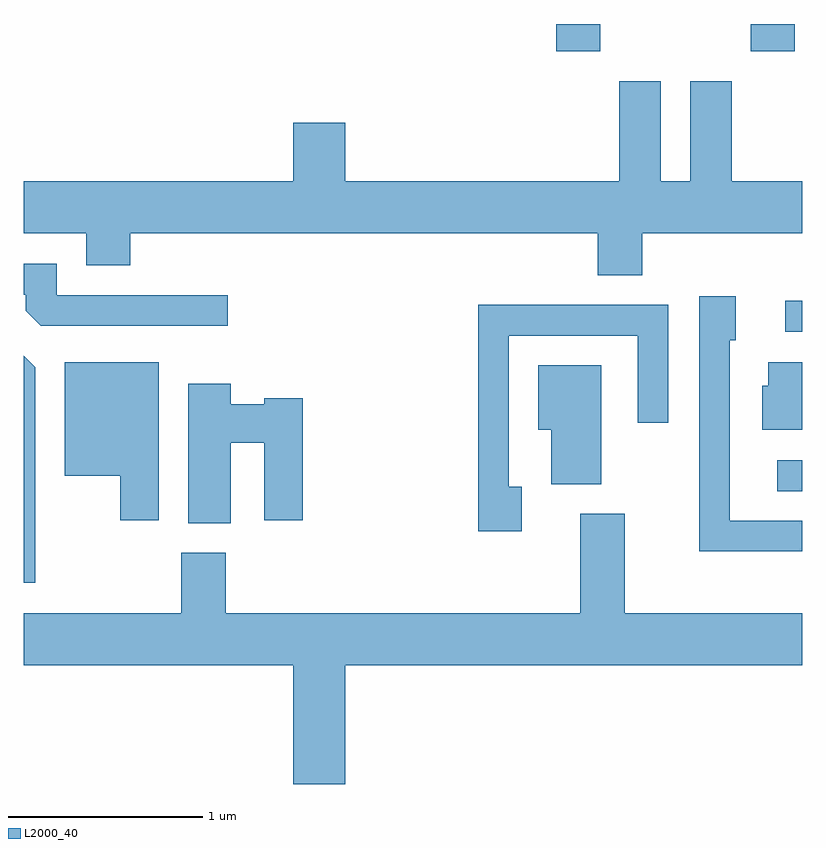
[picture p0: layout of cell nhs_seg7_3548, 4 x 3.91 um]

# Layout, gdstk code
import gdstk
lib = gdstk.Library(unit=1e-6, precision=1e-09)
def R(c, l, rs):  # rectangles x0, y0, x1, y1
    for r in rs: c.add(gdstk.rectangle(r[:2], r[2:], *l))
def P(c, l, *ps):  # polygons
    for p in ps: c.add(gdstk.Polygon(p, *l))
L2000_40 = (2000, 40)

nhs_seg7_3548 = lib.new_cell('nhs_seg7_3548')
R(nhs_seg7_3548, L2000_40, [(297.483,1741.851,297.611,1742.009), (297.523,1742.671,297.611,1742.829), (296.346,1744.111,296.574,1744.252), (297.346,1744.111,297.574,1744.252)])
P(nhs_seg7_3548, L2000_40, [(296.789,1743.176),(297.611,1743.176),(297.611,1743.444),(297.249,1743.444),(297.249,1743.959),(297.036,1743.959),(297.036,1743.444),(296.884,1743.444),(296.884,1743.959),(296.671,1743.959),(296.671,1743.444),(295.264,1743.444),(295.264,1743.744),(294.996,1743.744),(294.996,1743.444),(293.611,1743.444),(293.611,1743.176),(293.931,1743.176),(293.931,1743.011),(294.159,1743.011),(294.159,1743.176),(296.561,1743.176),(296.561,1742.961),(296.789,1742.961)],
  [(294.658,1742.859),(293.779,1742.859),(293.779,1743.019),(293.611,1743.019),(293.611,1742.861),(293.621,1742.861),(293.621,1742.777),(293.697,1742.701),(294.658,1742.701)],
  [(297.611,1741.699),(297.239,1741.699),(297.239,1742.626),(297.269,1742.626),(297.269,1742.854),(297.081,1742.854),(297.081,1741.541),(297.611,1741.541)],
  [(296.169,1741.874),(296.104,1741.874),(296.104,1742.651),(296.766,1742.651),(296.766,1742.203),(296.924,1742.203),(296.924,1742.809),(295.946,1742.809),(295.946,1741.646),(296.169,1741.646)],
  [(293.669,1742.489),(293.611,1742.547),(293.611,1741.381),(293.669,1741.381)],
  [(297.611,1742.514),(297.436,1742.514),(297.436,1742.394),(297.406,1742.394),(297.406,1742.166),(297.611,1742.166)],
  [(294.304,1742.514),(293.821,1742.514),(293.821,1741.931),(294.106,1741.931),(294.106,1741.701),(294.304,1741.701)],
  [(296.579,1742.499),(296.256,1742.499),(296.256,1742.166),(296.321,1742.166),(296.321,1741.886),(296.579,1741.886)],
  [(294.674,1742.101),(294.846,1742.101),(294.846,1741.701),(295.044,1741.701),(295.044,1742.329),(294.846,1742.329),(294.846,1742.299),(294.674,1742.299),(294.674,1742.404),(294.456,1742.404),(294.456,1741.686),(294.674,1741.686)],
  [(295.264,1740.956),(297.611,1740.956),(297.611,1741.224),(296.699,1741.224),(296.699,1741.734),(296.471,1741.734),(296.471,1741.224),(294.649,1741.224),(294.649,1741.534),(294.421,1741.534),(294.421,1741.224),(293.611,1741.224),(293.611,1740.956),(294.996,1740.956),(294.996,1740.346),(295.264,1740.346)])

lib.write_gds('nhs_seg7_3548.gds')
